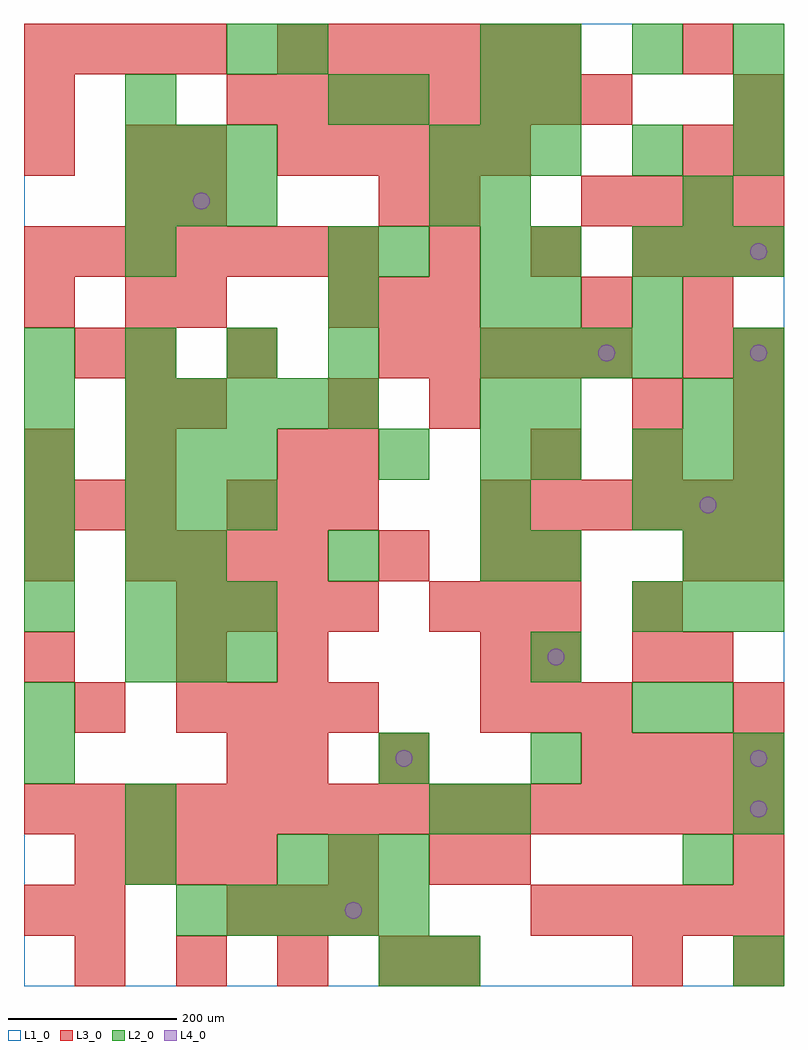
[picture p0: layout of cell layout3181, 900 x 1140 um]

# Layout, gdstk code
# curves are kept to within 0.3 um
import gdstk
lib = gdstk.Library(unit=1e-6, precision=1e-09)
def R(c, l, rs):  # rectangles x0, y0, x1, y1
    for r in rs: c.add(gdstk.rectangle(r[:2], r[2:], *l))
def A(c, l, x, y, w, h, nx, ny, dx, dy):  # array of equal rectangles
    R(c, l, [(x+i*dx, y+j*dy, x+i*dx+w, y+j*dy+h) for i in range(nx) for j in range(ny)])
def P(c, l, *ps):  # polygons
    for p in ps: c.add(gdstk.Polygon(p, *l))
L1_0 = (1, 0)
L2_0 = (2, 0)
L3_0 = (3, 0)
L4_0 = (4, 0)

layout3181 = lib.new_cell('layout3181')
R(layout3181, L1_0, [(0,0,900,1140)])
A(layout3181, L2_0, 180, 60, 60, 60, 5, 1, 60, 0)
A(layout3181, L2_0, 300, 120, 60, 60, 3, 1, 60, 0)
A(layout3181, L2_0, 780, 120, 60, 60, 1, 4, 0, 180)
A(layout3181, L2_0, 600, 240, 60, 60, 1, 4, 0, 120)
A(layout3181, L2_0, 120, 360, 60, 60, 3, 2, 60, 60)
A(layout3181, L2_0, 0, 420, 60, 60, 1, 5, 0, 60)
A(layout3181, L2_0, 720, 420, 60, 60, 3, 2, 60, 120)
A(layout3181, L2_0, 180, 480, 60, 60, 3, 1, 180, 0)
A(layout3181, L2_0, 120, 540, 60, 60, 3, 2, 60, 60)
A(layout3181, L2_0, 540, 540, 60, 60, 1, 3, 0, 60)
A(layout3181, L2_0, 720, 600, 60, 60, 3, 2, 60, 240)
A(layout3181, L2_0, 120, 660, 60, 60, 5, 1, 60, 0)
A(layout3181, L2_0, 0, 720, 60, 60, 4, 1, 120, 0)
A(layout3181, L2_0, 540, 720, 60, 60, 4, 1, 60, 0)
A(layout3181, L2_0, 540, 780, 60, 60, 1, 3, 0, 60)
A(layout3181, L2_0, 120, 900, 60, 60, 3, 2, 60, 60)
A(layout3181, L2_0, 480, 960, 60, 60, 3, 1, 60, 0)
A(layout3181, L2_0, 600, 1080, 60, 60, 3, 1, 120, 0)
R(layout3181, L2_0, [(420,0,480,60), (480,0,540,60), (840,0,900,60), (120,120,180,180), (120,180,180,240), (480,180,540,240), (540,180,600,240), (840,180,900,240), (0,240,60,300), (420,240,480,300), (840,240,900,300), (0,300,60,360), (720,300,780,360), (120,480,180,540), (840,480,900,540), (420,600,480,660), (600,660,660,720), (840,660,900,720), (840,720,900,780), (360,780,420,840), (600,780,660,840), (720,780,780,840), (120,840,180,900), (360,840,420,900), (420,840,480,900), (600,840,660,900), (480,900,540,960), (780,900,840,960), (720,960,780,1020), (840,960,900,1020), (120,1020,180,1080), (360,1020,420,1080), (420,1020,480,1080), (540,1020,600,1080), (600,1020,660,1080), (840,1020,900,1080), (240,1080,300,1140), (300,1080,360,1140), (540,1080,600,1140)])
A(layout3181, L3_0, 60, 0, 60, 60, 4, 1, 120, 0)
A(layout3181, L3_0, 240, 60, 60, 60, 3, 2, 60, 480)
A(layout3181, L3_0, 600, 60, 60, 60, 5, 1, 60, 0)
A(layout3181, L3_0, 60, 120, 60, 60, 4, 1, 60, 0)
A(layout3181, L3_0, 840, 120, 60, 60, 1, 4, 0, 180)
A(layout3181, L3_0, 0, 180, 60, 60, 15, 1, 60, 0)
A(layout3181, L3_0, 660, 240, 60, 60, 4, 2, 60, 660)
A(layout3181, L3_0, 180, 300, 60, 60, 4, 2, 60, 120)
A(layout3181, L3_0, 540, 300, 60, 60, 3, 1, 60, 0)
A(layout3181, L3_0, 0, 360, 60, 60, 1, 3, 0, 120)
A(layout3181, L3_0, 480, 420, 60, 60, 3, 1, 60, 0)
A(layout3181, L3_0, 120, 480, 60, 60, 4, 1, 60, 0)
A(layout3181, L3_0, 0, 540, 60, 60, 3, 1, 60, 0)
A(layout3181, L3_0, 540, 540, 60, 60, 6, 1, 60, 0)
A(layout3181, L3_0, 120, 600, 60, 60, 1, 4, 0, 60)
A(layout3181, L3_0, 600, 600, 60, 60, 3, 1, 120, 0)
A(layout3181, L3_0, 180, 660, 60, 60, 1, 3, 0, 120)
A(layout3181, L3_0, 420, 720, 60, 60, 5, 1, 60, 0)
A(layout3181, L3_0, 780, 720, 60, 60, 1, 3, 0, 60)
A(layout3181, L3_0, 840, 720, 60, 60, 1, 3, 0, 120)
A(layout3181, L3_0, 360, 780, 60, 60, 3, 1, 60, 0)
A(layout3181, L3_0, 0, 840, 60, 60, 7, 1, 60, 0)
A(layout3181, L3_0, 480, 840, 60, 60, 3, 1, 120, 0)
A(layout3181, L3_0, 300, 960, 60, 60, 5, 1, 60, 0)
A(layout3181, L3_0, 240, 1020, 60, 60, 8, 1, 60, 0)
A(layout3181, L3_0, 0, 1080, 60, 60, 4, 1, 60, 0)
A(layout3181, L3_0, 300, 1080, 60, 60, 6, 1, 60, 0)
R(layout3181, L3_0, [(480,0,540,60), (720,0,780,60), (840,0,900,60), (0,60,60,120), (60,60,120,120), (360,120,420,180), (480,120,540,180), (540,120,600,180), (240,240,300,300), (300,240,360,300), (420,240,480,300), (60,300,120,360), (180,360,240,420), (300,360,360,420), (540,360,600,420), (600,360,660,420), (720,360,780,420), (780,360,840,420), (720,420,780,480), (420,480,480,540), (540,480,600,540), (600,480,660,540), (780,480,840,540), (300,600,360,660), (360,600,420,660), (360,660,420,720), (480,660,540,720), (720,660,780,720), (60,720,120,780), (240,720,300,780), (0,780,60,840), (660,780,720,840), (120,900,180,960), (420,900,480,960), (480,900,540,960), (0,960,60,1020), (120,960,180,1020), (180,960,240,1020), (780,960,840,1020), (0,1020,60,1080), (840,1020,900,1080), (780,1080,840,1140)])
P(layout3181, L4_0, [(220,930),(219.239,933.827),(217.071,937.071),(213.827,939.239),(210,940),(206.173,939.239),(202.929,937.071),(200.761,933.827),(200,930),(200.761,926.173),(202.929,922.929),(206.173,920.761),(210,920),(213.827,920.761),(217.071,922.929),(219.239,926.173)],
  [(400,90),(399.239,93.827),(397.071,97.071),(393.827,99.239),(390,100),(386.173,99.239),(382.929,97.071),(380.761,93.827),(380,90),(380.761,86.173),(382.929,82.929),(386.173,80.761),(390,80),(393.827,80.761),(397.071,82.929),(399.239,86.173)],
  [(460,270),(459.239,273.827),(457.071,277.071),(453.827,279.239),(450,280),(446.173,279.239),(442.929,277.071),(440.761,273.827),(440,270),(440.761,266.173),(442.929,262.929),(446.173,260.761),(450,260),(453.827,260.761),(457.071,262.929),(459.239,266.173)],
  [(640,390),(639.239,393.827),(637.071,397.071),(633.827,399.239),(630,400),(626.173,399.239),(622.929,397.071),(620.761,393.827),(620,390),(620.761,386.173),(622.929,382.929),(626.173,380.761),(630,380),(633.827,380.761),(637.071,382.929),(639.239,386.173)],
  [(700,750),(699.239,753.827),(697.071,757.071),(693.827,759.239),(690,760),(686.173,759.239),(682.929,757.071),(680.761,753.827),(680,750),(680.761,746.173),(682.929,742.929),(686.173,740.761),(690,740),(693.827,740.761),(697.071,742.929),(699.239,746.173)],
  [(820,570),(819.239,573.827),(817.071,577.071),(813.827,579.239),(810,580),(806.173,579.239),(802.929,577.071),(800.761,573.827),(800,570),(800.761,566.173),(802.929,562.929),(806.173,560.761),(810,560),(813.827,560.761),(817.071,562.929),(819.239,566.173)],
  [(880,210),(879.239,213.827),(877.071,217.071),(873.827,219.239),(870,220),(866.173,219.239),(862.929,217.071),(860.761,213.827),(860,210),(860.761,206.173),(862.929,202.929),(866.173,200.761),(870,200),(873.827,200.761),(877.071,202.929),(879.239,206.173)],
  [(880,270),(879.239,273.827),(877.071,277.071),(873.827,279.239),(870,280),(866.173,279.239),(862.929,277.071),(860.761,273.827),(860,270),(860.761,266.173),(862.929,262.929),(866.173,260.761),(870,260),(873.827,260.761),(877.071,262.929),(879.239,266.173)],
  [(880,750),(879.239,753.827),(877.071,757.071),(873.827,759.239),(870,760),(866.173,759.239),(862.929,757.071),(860.761,753.827),(860,750),(860.761,746.173),(862.929,742.929),(866.173,740.761),(870,740),(873.827,740.761),(877.071,742.929),(879.239,746.173)],
  [(880,870),(879.239,873.827),(877.071,877.071),(873.827,879.239),(870,880),(866.173,879.239),(862.929,877.071),(860.761,873.827),(860,870),(860.761,866.173),(862.929,862.929),(866.173,860.761),(870,860),(873.827,860.761),(877.071,862.929),(879.239,866.173)])

lib.write_gds('layout3181.gds')
